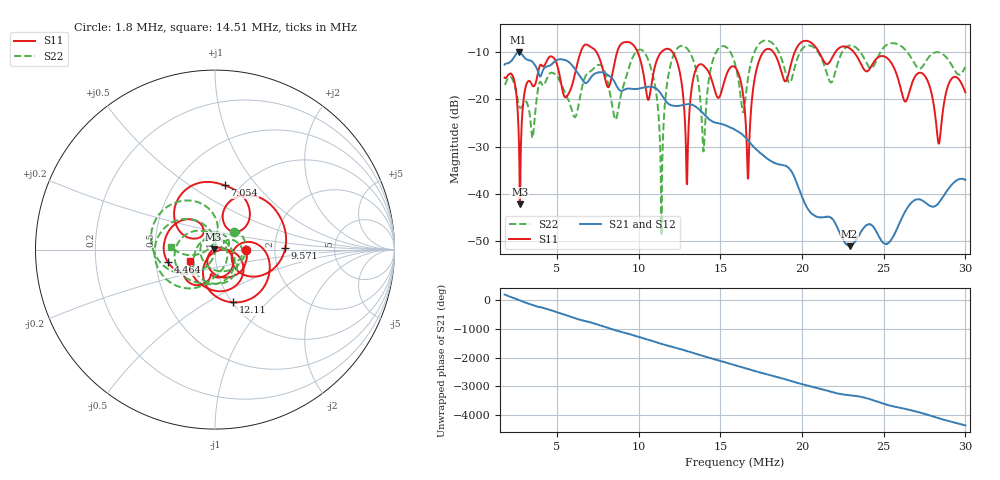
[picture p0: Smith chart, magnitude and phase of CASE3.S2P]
!Agilent Technologies,E5061B,MY49101568,A.02.00
!Date: Wed Mar 01 15:26:58 2023
!Data & Calibration Information:
!Freq	S11:SOLT2(OFF)	S21:SOLT2(OFF)	S12:SOLT2(OFF)	S22:SOLT2(OFF)
# Hz S dB R 50
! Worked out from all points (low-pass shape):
!   1155 points, 1.8 MHz to 30 MHz, reference 50 ohm
!   highest |S21| = -9.95 dB at 2.655 MHz (marker M1); lowest = -51.0 dB at 22.91 MHz (marker M2)
!   |S21| within 3 dB of the highest: start of sweep to 3.702 MHz; 4.462 MHz to 5.978 MHz (1.516 MHz wide, 29 % of centre)
!   lowest |S11| = -42.1 dB at 2.729 MHz (marker M3), VSWR 1.02, Z = 49.2 + j0.141 ohm
!   |S11| at or under -10 dB: start of sweep to 6.451 MHz; 12.08 MHz to 17.62 MHz (5.541 MHz wide, 37.3 % of centre); 23.18 MHz to end of sweep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
!   |S22| runs from -48.8 to -7.5 dB; largest |S21 - S12| = 0.0041
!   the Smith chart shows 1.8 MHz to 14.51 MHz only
!   S11 on the Smith chart (normalised r, x): 1.8 MHz: 1.41, -0.01; 4.464 MHz: 0.58, -0.09; 7.054 MHz: 0.85, +0.70; 9.571 MHz: 2.29, +0.04; 12.11 MHz: 1.01, -0.66; 14.51 MHz: 0.75, -0.09
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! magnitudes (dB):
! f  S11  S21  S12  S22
! 1.8 MHz  -15.4  -12.6  -12.6  -16.9
! 2.655 MHz  -26.6  -10.0  -10.0  -21.0
! 2.729 MHz  -42.1  -10.0  -10.0  -21.7
! 4.464 MHz  -11.3  -13.0  -13.0  -15.0
! 6.516 MHz  -9.4  -15.6  -15.5  -17.8
! 7.054 MHz  -8.8  -15.4  -15.3  -14.0
! 8.593 MHz  -11.2  -16.7  -16.6  -24.3
! 9.571 MHz  -8.1  -17.7  -17.7  -11.6
! 11.21 MHz  -10.9  -18.1  -18.1  -22.7
! 11.43 MHz  -9.9  -19.1  -19.1  -38.0
! 12.11 MHz  -10.2  -21.3  -21.4  -10.9
! 12.94 MHz  -37.6  -21.0  -21.1  -9.1
! 13.97 MHz  -12.8  -23.0  -23.0  -31.0
! 14.51 MHz  -16.2  -24.6  -24.7  -12.2
! 15.9 MHz  -13.2  -26.4  -26.5  -12.4
! 16.71 MHz  -36.8  -28.7  -28.7  -15.3
! 17.56 MHz  -10.3  -31.7  -31.8  -7.7
! 20.62 MHz  -8.1  -44.2  -44.2  -8.8
! 22.91 MHz  -9.2  -51.0  -51.0  -8.6
! 25.31 MHz  -11.5  -50.3  -50.2  -8.2
! 28.36 MHz  -29.4  -41.9  -41.8  -10.0
! 30 MHz  -18.5  -37.0  -37.0  -13.1
